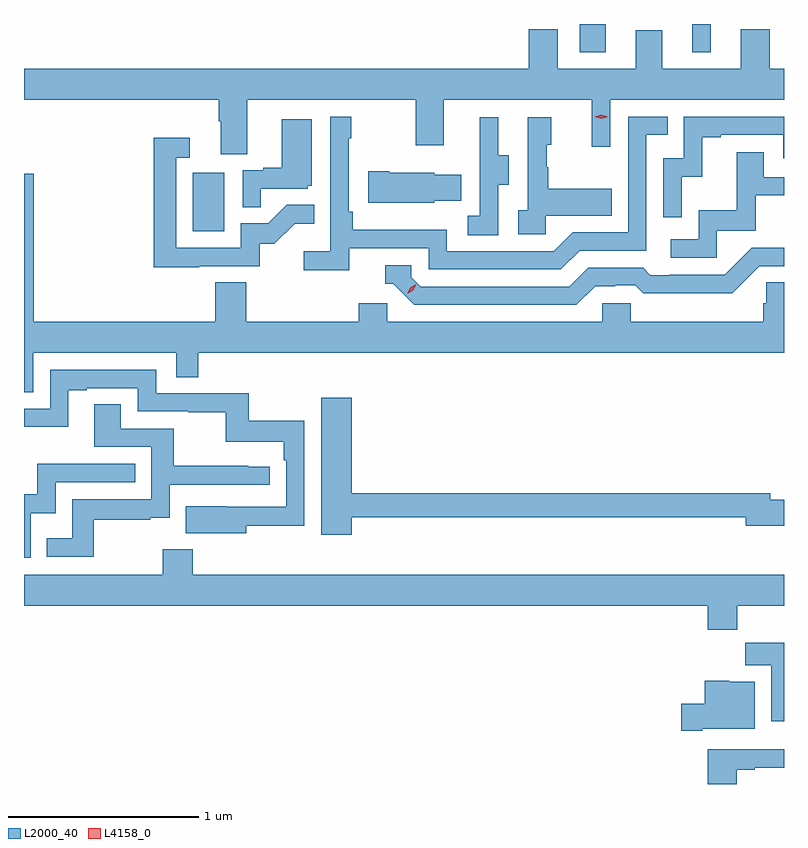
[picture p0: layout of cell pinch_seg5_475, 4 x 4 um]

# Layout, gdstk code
import gdstk
lib = gdstk.Library(unit=1e-6, precision=1e-09)
def R(c, l, rs):  # rectangles x0, y0, x1, y1
    for r in rs: c.add(gdstk.rectangle(r[:2], r[2:], *l))
def P(c, l, *ps):  # polygons
    for p in ps: c.add(gdstk.Polygon(p, *l))
L2000_40 = (2000, 40)
L4158_0 = (4158, 0)

pinch_seg5_475 = lib.new_cell('pinch_seg5_475')
R(pinch_seg5_475, L2000_40, [(934.328,837.42,934.492,837.727), (936.363,838.362,936.502,838.511), (936.956,838.362,937.054,838.511)])
P(pinch_seg5_475, L2000_40, [(934.615,838.112),(935.5,838.112),(935.5,837.873),(935.647,837.873),(935.647,838.112),(936.428,838.112),(936.428,837.864),(936.525,837.864),(936.525,838.112),(937.439,838.112),(937.439,838.276),(937.364,838.276),(937.364,838.483),(937.211,838.483),(937.211,838.276),(936.799,838.276),(936.799,838.478),(936.659,838.478),(936.659,838.276),(936.247,838.276),(936.247,838.483),(936.095,838.483),(936.095,838.276),(933.439,838.276),(933.439,838.112),(934.463,838.112),(934.463,838),(934.475,838),(934.475,837.826),(934.615,837.826)],
  [(935.15,837.33),(935.568,837.33),(935.568,837.219),(936.265,837.219),(936.364,837.318),(936.714,837.318),(936.714,837.927),(936.827,837.927),(936.827,838.023),(936.618,838.023),(936.618,837.414),(936.327,837.414),(936.228,837.315),(935.664,837.315),(935.664,837.427),(935.168,837.427),(935.168,837.523),(935.148,837.523),(935.148,837.911),(935.161,837.911),(935.161,838.024),(935.052,838.024),(935.052,837.316),(934.911,837.316),(934.911,837.214),(935.15,837.214)],
  [(936.9,837.707),(937.01,837.707),(937.01,837.915),(937.105,837.915),(937.105,837.927),(937.434,837.927),(937.434,837.804),(937.439,837.804),(937.439,838.023),(936.912,838.023),(936.912,837.804),(936.804,837.804),(936.804,837.495),(936.9,837.495)],
  [(936.186,837.503),(936.533,837.503),(936.533,837.643),(936.199,837.643),(936.199,837.758),(936.189,837.758),(936.189,837.876),(936.214,837.876),(936.214,838.021),(936.09,838.021),(936.09,837.53),(936.039,837.53),(936.039,837.405),(936.186,837.405)],
  [(935.934,837.664),(935.989,837.664),(935.989,837.819),(935.935,837.819),(935.935,838.021),(935.837,838.021),(935.837,837.807),(935.838,837.807),(935.838,837.503),(935.775,837.503),(935.775,837.4),(935.934,837.4)],
  [(934.685,837.645),(934.932,837.645),(934.932,837.66),(934.954,837.66),(934.954,838.009),(934.796,838.009),(934.796,837.754),(934.697,837.754),(934.697,837.741),(934.59,837.741),(934.59,837.547),(934.685,837.547)],
  [(934.361,837.237),(934.68,837.237),(934.68,837.354),(934.756,837.354),(934.863,837.461),(934.967,837.461),(934.967,837.56),(934.823,837.56),(934.725,837.462),(934.581,837.462),(934.581,837.333),(934.239,837.333),(934.239,837.807),(934.312,837.807),(934.312,837.913),(934.123,837.913),(934.123,837.232),(934.361,837.232)],
  [(937.086,837.423),(937.291,837.423),(937.291,837.609),(937.439,837.609),(937.439,837.705),(937.333,837.705),(937.333,837.835),(937.189,837.835),(937.189,837.532),(936.99,837.532),(936.99,837.378),(936.843,837.378),(936.843,837.282),(937.086,837.282)],
  [(935.598,837.581),(935.741,837.581),(935.741,837.718),(935.598,837.718),(935.598,837.727),(935.362,837.727),(935.362,837.735),(935.25,837.735),(935.25,837.569),(935.598,837.569)],
  [(933.487,836.78),(934.239,836.78),(934.239,836.653),(934.355,836.653),(934.355,836.78),(937.439,836.78),(937.439,837.152),(937.345,837.152),(937.345,837.042),(937.331,837.042),(937.331,836.944),(936.633,836.944),(936.633,837.042),(936.483,837.042),(936.483,836.944),(935.352,836.944),(935.352,837.042),(935.201,837.042),(935.201,836.944),(934.61,836.944),(934.61,837.152),(934.445,837.152),(934.445,836.944),(933.491,836.944),(933.491,837.723),(933.439,837.723),(933.439,836.572),(933.487,836.572)],
  [(936.445,837.132),(936.552,837.132),(936.552,837.135),(936.655,837.135),(936.697,837.093),(936.93,837.093),(936.93,837.095),(937.166,837.095),(937.308,837.237),(937.439,837.237),(937.439,837.333),(937.269,837.333),(937.128,837.192),(936.835,837.192),(936.835,837.189),(936.736,837.189),(936.697,837.228),(936.408,837.228),(936.309,837.129),(935.526,837.129),(935.478,837.177),(935.478,837.24),(935.339,837.24),(935.339,837.144),(935.382,837.144),(935.493,837.033),(936.346,837.033)],
  [(934.609,835.87),(934.914,835.87),(934.914,836.422),(934.621,836.422),(934.621,836.568),(934.134,836.568),(934.134,836.691),(933.576,836.691),(933.576,836.487),(933.439,836.487),(933.439,836.391),(933.468,836.391),(933.468,836.39),(933.673,836.39),(933.673,836.583),(933.769,836.583),(933.769,836.595),(934.038,836.595),(934.038,836.472),(934.303,836.472),(934.303,836.467),(934.5,836.467),(934.5,836.312),(934.805,836.312),(934.805,836.216),(934.818,836.216),(934.818,835.971),(934.505,835.971),(934.505,835.972),(934.291,835.972),(934.291,835.832),(934.609,835.832)],
  [(935.164,835.914),(937.238,835.914),(937.238,835.871),(937.439,835.871),(937.439,836.006),(937.366,836.006),(937.366,836.042),(935.164,836.042),(935.164,836.545),(935.003,836.545),(935.003,835.824),(935.164,835.824)],
  [(933.805,835.902),(934.103,835.902),(934.103,835.913),(934.206,835.913),(934.206,836.085),(934.732,836.085),(934.732,836.181),(934.619,836.181),(934.619,836.186),(934.226,836.186),(934.226,836.382),(933.949,836.382),(933.949,836.51),(933.809,836.51),(933.809,836.286),(934.11,836.286),(934.11,836.01),(933.694,836.01),(933.694,835.804),(933.559,835.804),(933.559,835.707),(933.805,835.707)],
  [(933.474,835.937),(933.606,835.937),(933.606,836.1),(934.025,836.1),(934.025,836.196),(933.51,836.196),(933.51,836.035),(933.439,836.035),(933.439,835.701),(933.474,835.701)],
  [(937.193,835.448),(937.439,835.448),(937.439,835.612),(934.328,835.612),(934.328,835.747),(934.168,835.747),(934.168,835.612),(933.439,835.612),(933.439,835.448),(937.037,835.448),(937.037,835.324),(937.193,835.324)],
  [(937.439,835.254),(937.234,835.254),(937.234,835.136),(937.373,835.136),(937.373,834.84),(937.439,834.84)],
  [(937.009,834.803),(937.285,834.803),(937.285,835.048),(937.152,835.048),(937.152,835.054),(937.022,835.054),(937.022,834.933),(936.897,834.933),(936.897,834.791),(937.009,834.791)],
  [(937.189,834.585),(937.285,834.585),(937.285,834.597),(937.439,834.597),(937.439,834.694),(937.381,834.694),(937.381,834.693),(937.037,834.693),(937.037,834.511),(937.189,834.511)])
P(pinch_seg5_475, L4158_0, [(936.478,838.013),(936.442,838.022),(936.442,838.023),(936.442,838.023),(936.478,838.033),(936.513,838.023),(936.514,838.023),(936.513,838.022)],
  [(935.456,837.09),(935.456,837.09),(935.472,837.123),(935.503,837.142),(935.503,837.142),(935.503,837.142),(935.487,837.109),(935.456,837.09)])

lib.write_gds('pinch_seg5_475.gds')
